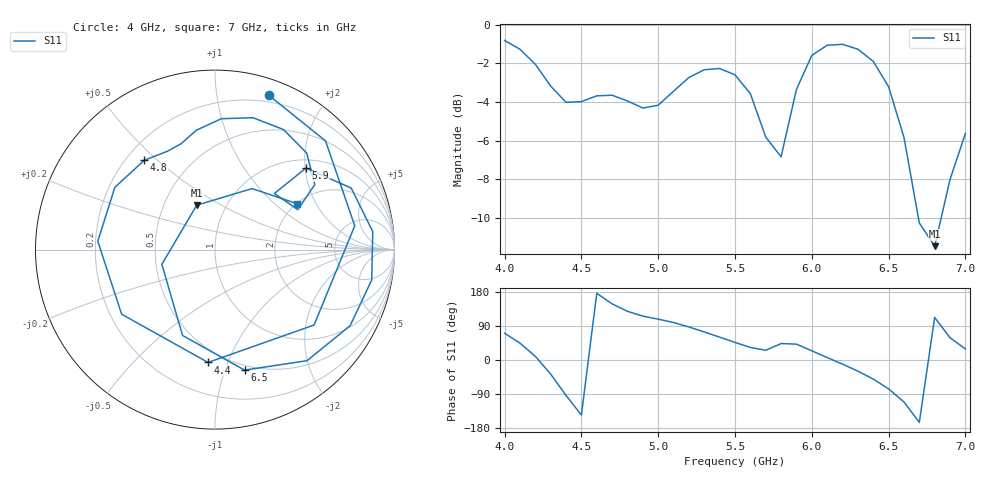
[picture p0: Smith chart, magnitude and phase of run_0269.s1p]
! Touchstone file exported from HFSS 2024.2.0
!  File:  C:/Users/wsak9/Desktop/Sim Fast/Widenad Patch/WP_AI_V1_sweep.aedt
!  Generated:  02:19:31 AM Oct 14, 2026
!  Design:  A1_model
!  Project:  WP_AI_V1_sweep
!  Setup:  Setup1
!  Solution:  Sweep
! Variables:
!  Air_gap = 1.94mm
!  Curve_Amp1 = 2.97
!  Curve_len1 = 1
!  Curve_pos = 10.795mm
!  Extra = 6.82mm
!  H_sub = 0.79mm
!  L_Patch = 17.59mm
!  L_Patch1 = 18.63mm
!  Sx = 3.02mm
!  Sy = 2.68mm
!  WS = 0.42mm
!  W_Patch = 11.07mm
!  W_Patch1 = 11.81mm
!Data is not renormalized
# GHz S MA
! Terminal data exported
! Port[1] = 1
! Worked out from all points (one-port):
!   31 points, 4 GHz to 7 GHz, reference per port
!   lowest |S11| = -11.5 dB at 6.8 GHz (marker M1), VSWR 1.73
!   |S11| at or under -10 dB: 6.694 GHz to 6.842 GHz (147.8 MHz wide, 2.18 % of centre)
!   S11 on the Smith chart (normalised r, x): 4 GHz: 0.14, +1.40; 4.4 GHz: 0.41, -0.85; 4.8 GHz: 0.27, +0.45; 5.9 GHz: 1.19, +2.02; 6.5 GHz: 0.45, -1.17; 7 GHz: 2.01, +1.42
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4  0.9102 70.7
4.1  0.8637 44.5
4.2  0.7898 9.6
4.3  0.6937 -37.3
4.4  0.6298 -93.5
4.5  0.6326 -145.3
4.6  0.6546 175.9
4.7  0.657 148.1
4.8  0.6348 128.4
5  0.6192 107.8
5.2  0.7302 87.2
5.3  0.7646 74.0
5.5  0.7419 46.5
5.6  0.6633 33.1
5.7  0.5123 25.8
5.8  0.4553 43.4
5.9  0.6803 41.9
6  0.8327 24.3
6.1  0.8846 6.5
6.2  0.8895 -11.0
6.3  0.864 -29.4
6.4  0.8037 -50.4
6.5  0.6913 -76.2
6.6  0.5113 -110.7
6.7  0.3072 -164.6
6.8  0.2675 112.4
6.9  0.3979 58.7
7  0.5234 29.3
